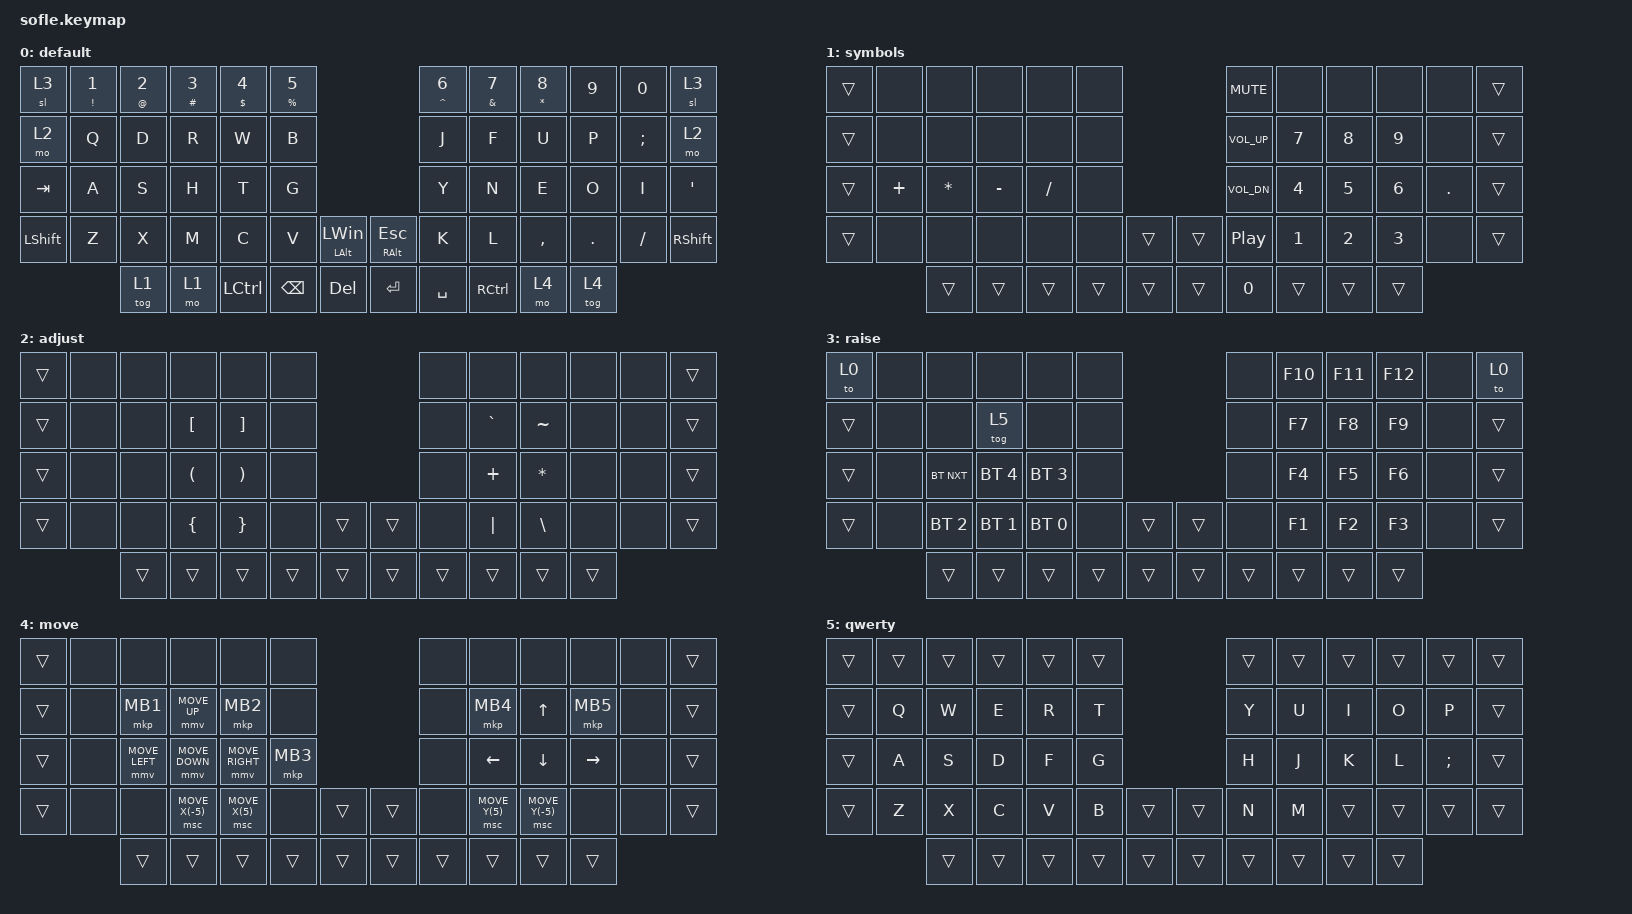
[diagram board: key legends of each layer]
/*
 * Copyright (c) 2020 The ZMK Contributors
 *
 * SPDX-License-Identifier: MIT
 */

#include <behaviors.dtsi>
#include <dt-bindings/zmk/bt.h>
#include <dt-bindings/zmk/keys.h>
#include <dt-bindings/zmk/pointing.h>

#define BASE 0
#define LOWER 1
#define RAISE 2
#define ADJUST 3
#define extra_layer 4

/ {
    // Activate ADJUST layer by pressing raise and lower

    conditional_layers { compatible = "zmk,conditional-layers"; };

    combos {
        compatible = "zmk,combos";

        equal {
            bindings = <&kp EQUAL>;
            key-positions = <31 32>;
            layers = <0>;
            timeout-ms = <30>;
            require-prior-idle-ms = <10>;
        };

        dash {
            bindings = <&kp MINUS>;
            key-positions = <28 27>;
            layers = <0>;
            timeout-ms = <30>;
            require-prior-idle-ms = <10>;
        };

        underscore {
            bindings = <&kp UNDER>;
            key-positions = <40 39>;
            layers = <0>;
            timeout-ms = <30>;
            require-prior-idle-ms = <10>;
        };

        less_than {
            bindings = <&kp LESS_THAN>;
            key-positions = <25 26>;
            timeout-ms = <30>;
            require-prior-idle-ms = <10>;
            layers = <0>;
        };

        greater_than {
            bindings = <&kp GREATER_THAN>;
            key-positions = <33 34>;
            timeout-ms = <30>;
            require-prior-idle-ms = <10>;
            layers = <0>;
        };

        ampersand {
            bindings = <&kp AMPS>;
            key-positions = <45 46>;
            timeout-ms = <30>;
            require-prior-idle-ms = <10>;
            layers = <0>;
        };
    };

    keymap {
        compatible = "zmk,keymap";

        default {
            display-name = "default";

            // ------------------------------------------------------------------------------------------------------------
            // |   `   |  1  |  2  |  3   |  4   |  5   |                   |  6   |  7    |  8    |  9   |   0   |       |
            // |  ESC  |  Q  |  W  |  E   |  R   |  T   |                   |  Y   |  U    |  I    |  O   |   P   | BKSPC |
            // |  TAB  |  A  |  S  |  D   |  F   |  G   |                   |  H   |  J    |  K    |  L   |   ;   |   '   |
            // | SHIFT |  Z  |  X  |  C   |  V   |  B   |  MUTE  |  |       |  N   |  M    |  ,    |  .   |   /   | SHIFT |
            //               | GUI | ALT  | CTRL | LOWER|  ENTER |  | SPACE | RAISE| CTRL  | ALT   | GUI  |

            bindings = <
&sl 3      &mt EXCL NUMBER_1  &mt AT NUMBER_2  &mt HASH NUMBER_3  &mt DOLLAR NUMBER_4  &mt PERCENT N5                                             &mt CARET NUMBER_6  &mt AMPERSAND N7  &mt STAR N8  &kp N9   &kp N0    &sl 3
&mo 2      &kp Q              &kp D            &kp R              &kp W                &kp B                                                      &kp J               &kp F             &kp U        &kp P    &kp SEMI  &mo 2
&kp TAB    &kp A              &kp S            &kp H              &kp T                &kp G                                                      &kp Y               &kp N             &kp E        &kp O    &kp I     &kp SQT
&kp LSHFT  &kp Z              &kp X            &kp M              &kp C                &kp V           &mt LEFT_ALT LWIN    &mt RIGHT_ALT ESCAPE  &kp K               &kp L             &kp COMMA    &kp DOT  &kp FSLH  &kp RSHFT
                              &tog 1           &mo 1              &kp LCTRL            &kp BSPC        &kp DEL              &kp RET               &kp SPACE           &kp RCTRL         &mo 4        &tog 4
            >;

            label = "default";
        };

        keypad {
            display-name = "symbols";

            // TODO: Some binds are waiting for shifted keycode support.
            // ------------------------------------------------------------------------------------------------------------
            // |       |  F1 |  F2 |  F3  |  F4  |  F5  |                   |  F6  |  F7   |  F8   |  F9  |  F10  |  F11  |
            // |   `   |  1  |  2  |  3   |  4   |  5   |                   |  6   |  7    |  8    |  9   |   0   |  F12  |
            // |       |  !  |  @  |  #   |  $   |  %   |                   |  ^   |  &    |  *    |  (   |   )   |   |   |
            // |       |  =  |  -  |  +   |  {   |  }   |        |  |       |  [   |  ]    |  ;    |  :   |   \   |       |
            //               |     |      |      |      |        |  |       |      |       |       |      |

            bindings = <
&trans  &none     &none     &none      &none      &none                     &kp C_MUTE        &none   &none   &none   &none    &trans
&trans  &none     &none     &none      &none      &none                     &kp C_VOL_UP      &kp N7  &kp N8  &kp N9  &none    &trans
&trans  &kp PLUS  &kp STAR  &kp MINUS  &kp SLASH  &none                     &kp C_VOL_DN      &kp N4  &kp N5  &kp N6  &kp DOT  &trans
&trans  &none     &none     &none      &none      &none   &trans    &trans  &kp C_PLAY_PAUSE  &kp N1  &kp N2  &kp N3  &none    &trans
                  &trans    &trans     &trans     &trans  &trans    &trans  &kp N0            &trans  &trans  &trans
            >;

            label = "keypad";
        };

        symbols {
            // ----------------------------------------------------------------------------------------------------------------------------
            // | BTCLR  |  BT1    |  BT2    |   BT3   |   BT4   |   BT5   |                  |      |      |       |      |       |       |
            // | EXTPWR | RGB_HUD | RGB_HUI | RGB_SAD | RGB_SAI | RGB_EFF |                  |      |      |       |      |       |       |
            // |        | RGB_BRD | RGB_BRI |         |         |         |                  |      |      |       |      |       |       |
            // |        |         |         |         |         |         | RGB_TOG | |      |      |      |       |      |       |       |
            //                    |         |         |         |         |         | |      |      |      |       |      |

            display-name = "adjust";
            bindings = <
&trans  &none  &none   &none                 &none                  &none                     &none   &none      &none          &none   &none  &trans
&trans  &none  &none   &kp LEFT_BRACKET      &kp RIGHT_BRACKET      &none                     &none   &kp GRAVE  &kp TILDE      &none   &none  &trans
&trans  &none  &none   &kp LEFT_PARENTHESIS  &kp RIGHT_PARENTHESIS  &none                     &none   &kp PLUS   &kp STAR       &none   &none  &trans
&trans  &none  &none   &kp LEFT_BRACE        &kp RIGHT_BRACE        &none   &trans    &trans  &none   &kp PIPE   &kp BACKSLASH  &none   &none  &trans
               &trans  &trans                &trans                 &trans  &trans    &trans  &trans  &trans     &trans         &trans
            >;

            label = "symbols";
        };

        function {
            display-name = "raise";

            // ------------------------------------------------------------------------------------------------------------
            // | BTCLR | BT1  | BT2  |  BT3  |  BT4  |  BT5 |                |      |      |       |      |       |       |
            // |       | INS  | PSCR | GUI   |       |      |                | PGUP |      |   ^   |      |       |       |
            // |       | ALT  | CTRL | SHIFT |       | CAPS |                | PGDN |   <- |   v   |  ->  |  DEL  | BKSPC |
            // |       | UNDO | CUT  | COPY  | PASTE |      |      |  |      |      |      |       |      |       |       |
            //                |      |       |       |      |      |  |      |      |      |       |      |

            bindings = <
&to 0   &none  &none         &none         &none         &none                     &none   &kp F10  &kp F11  &kp F12  &none  &to 0
&trans  &none  &none         &tog 5        &none         &none                     &none   &kp F7   &kp F8   &kp F9   &none  &trans
&trans  &none  &bt BT_NXT    &bt BT_SEL 4  &bt BT_SEL 3  &none                     &none   &kp F4   &kp F5   &kp F6   &none  &trans
&trans  &none  &bt BT_SEL 2  &bt BT_SEL 1  &bt BT_SEL 0  &none   &trans    &trans  &none   &kp F1   &kp F2   &kp F3   &none  &trans
               &trans        &trans        &trans        &trans  &trans    &trans  &trans  &trans   &trans   &trans
            >;

            label = "function";
        };

        move {
            bindings = <
&trans  &none  &none           &none            &none            &none                       &none   &none           &none            &none      &none  &trans
&trans  &none  &mkp MB1        &mmv MOVE_UP     &mkp MB2         &none                       &none   &mkp MB4        &kp UP_ARROW     &mkp MB5   &none  &trans
&trans  &none  &mmv MOVE_LEFT  &mmv MOVE_DOWN   &mmv MOVE_RIGHT  &mkp MB3                    &none   &kp LEFT        &kp DOWN         &kp RIGHT  &none  &trans
&trans  &none  &none           &msc MOVE_X(-5)  &msc MOVE_X(5)   &none     &trans    &trans  &none   &msc MOVE_Y(5)  &msc MOVE_Y(-5)  &none      &none  &trans
               &trans          &trans           &trans           &trans    &trans    &trans  &trans  &trans          &trans           &trans
            >;

            label = "move";
        };

        qwerty {
            bindings = <
&trans  &trans  &trans  &trans  &trans  &trans                    &trans  &trans  &trans  &trans  &trans    &trans
&trans  &kp Q   &kp W   &kp E   &kp R   &kp T                     &kp Y   &kp U   &kp I   &kp O   &kp P     &trans
&trans  &kp A   &kp S   &kp D   &kp F   &kp G                     &kp H   &kp J   &kp K   &kp L   &kp SEMI  &trans
&trans  &kp Z   &kp X   &kp C   &kp V   &kp B   &trans    &trans  &kp N   &kp M   &trans  &trans  &trans    &trans
                &trans  &trans  &trans  &trans  &trans    &trans  &trans  &trans  &trans  &trans
            >;

            label = "qwerty";
        };
    };
};
